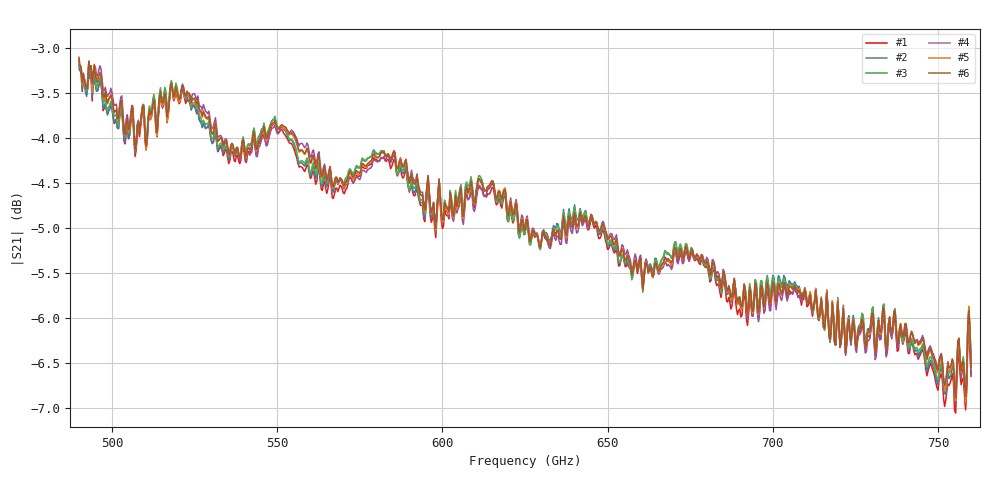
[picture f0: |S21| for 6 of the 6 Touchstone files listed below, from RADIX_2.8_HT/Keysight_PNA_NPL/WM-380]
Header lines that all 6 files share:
! Python used to change reference impedance from 50 to 1.
# Hz S RI R 1
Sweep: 490 GHz to 760 GHz
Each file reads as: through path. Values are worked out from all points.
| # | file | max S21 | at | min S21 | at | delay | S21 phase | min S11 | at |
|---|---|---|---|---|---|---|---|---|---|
| 1 | R3 1.S2P | -3.14 dB | 490 GHz | -7.1 dB | 755.3 GHz | 16.4 ps | -95 deg at 625 GHz | -19.8 dB | 492.3 GHz |
| 2 | R3 2.S2P | -3.21 dB | 490 GHz | -6.9 dB | 755.3 GHz | 16.3 ps | -93 deg at 625 GHz | -18.1 dB | 520.7 GHz |
| 3 | R3 3.S2P | -3.15 dB | 493 GHz | -6.8 dB | 755.3 GHz | 16.3 ps | -94 deg at 625 GHz | -20.5 dB | 492.3 GHz |
| 4 | R3 4.S2P | -3.18 dB | 493 GHz | -6.9 dB | 755.3 GHz | 16.3 ps | -86 deg at 625 GHz | -21.8 dB | 492.3 GHz |
| 5 | R3 5.S2P | -3.16 dB | 490 GHz | -6.9 dB | 758.3 GHz | 16.3 ps | -89 deg at 625 GHz | -18.9 dB | 492.3 GHz |
| 6 | R3 6.S2P | -3.10 dB | 490 GHz | -6.9 dB | 755.3 GHz | 16.3 ps | -88 deg at 625 GHz | -22.7 dB | 492.3 GHz |
